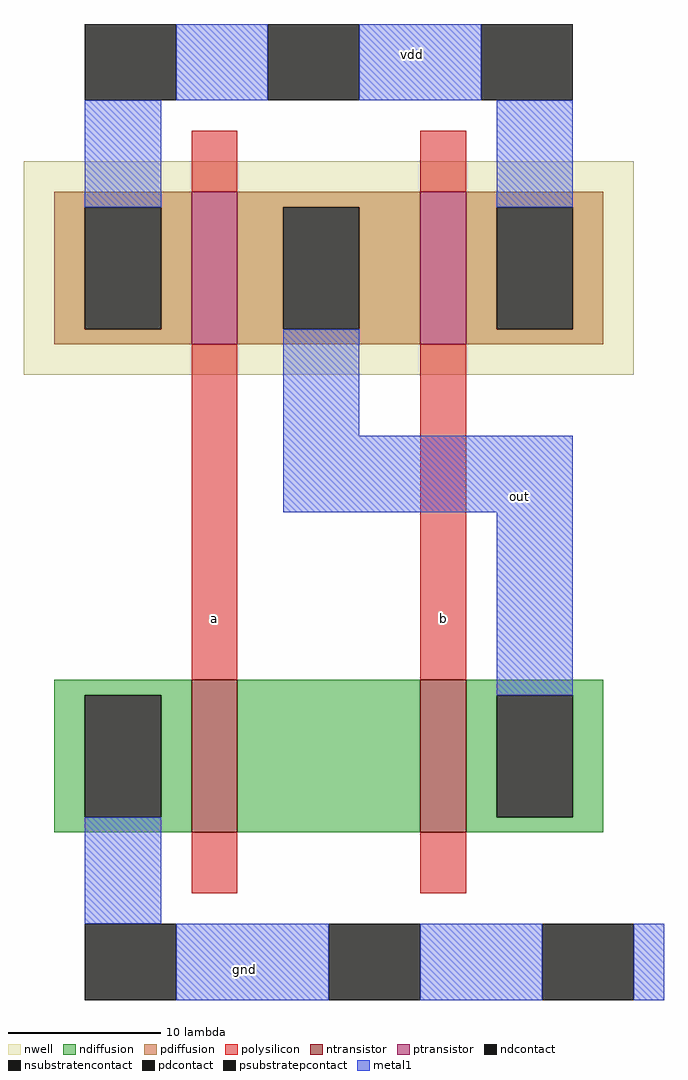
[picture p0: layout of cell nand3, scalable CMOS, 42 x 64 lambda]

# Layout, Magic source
magic
tech scmos
<< nwell >>
rect -23 5 17 19
<< polysilicon >>
rect -12 17 -9 21
rect 3 17 6 21
rect -12 -15 -9 7
rect 3 -15 6 7
rect -12 -29 -9 -25
rect 3 -29 6 -25
<< ndiffusion >>
rect -21 -16 -12 -15
rect -21 -24 -19 -16
rect -14 -24 -12 -16
rect -21 -25 -12 -24
rect -9 -25 3 -15
rect 6 -16 15 -15
rect 6 -24 8 -16
rect 13 -24 15 -16
rect 6 -25 15 -24
<< pdiffusion >>
rect -21 16 -12 17
rect -21 8 -19 16
rect -14 8 -12 16
rect -21 7 -12 8
rect -9 16 3 17
rect -9 8 -6 16
rect -1 8 3 16
rect -9 7 3 8
rect 6 16 15 17
rect 6 8 8 16
rect 13 8 15 16
rect 6 7 15 8
<< metal1 >>
rect -13 23 -7 28
rect -1 23 7 28
rect -19 16 -14 23
rect 8 16 13 23
rect -6 1 -1 8
rect -6 -4 13 1
rect 8 -16 13 -4
rect -19 -31 -14 -24
rect -13 -36 -3 -31
rect 3 -36 11 -31
rect 17 -36 19 -31
<< ntransistor >>
rect -12 -25 -9 -15
rect 3 -25 6 -15
<< ptransistor >>
rect -12 7 -9 17
rect 3 7 6 17
<< ndcontact >>
rect -19 -24 -14 -16
rect 8 -24 13 -16
<< pdcontact >>
rect -19 8 -14 16
rect -6 8 -1 16
rect 8 8 13 16
<< psubstratepcontact >>
rect -19 -36 -13 -31
rect -3 -36 3 -31
rect 11 -36 17 -31
<< nsubstratencontact >>
rect -19 23 -13 28
rect -7 23 -1 28
rect 7 23 13 28
<< labels >>
rlabel metal1 -11 -34 -6 -34 1 gnd
rlabel space -13 -11 -8 -11 1 a
rlabel space 2 -11 7 -11 1 b
rlabel metal1 7 -3 12 -3 1 out
rlabel metal1 0 26 5 26 5 vdd
<< end >>
